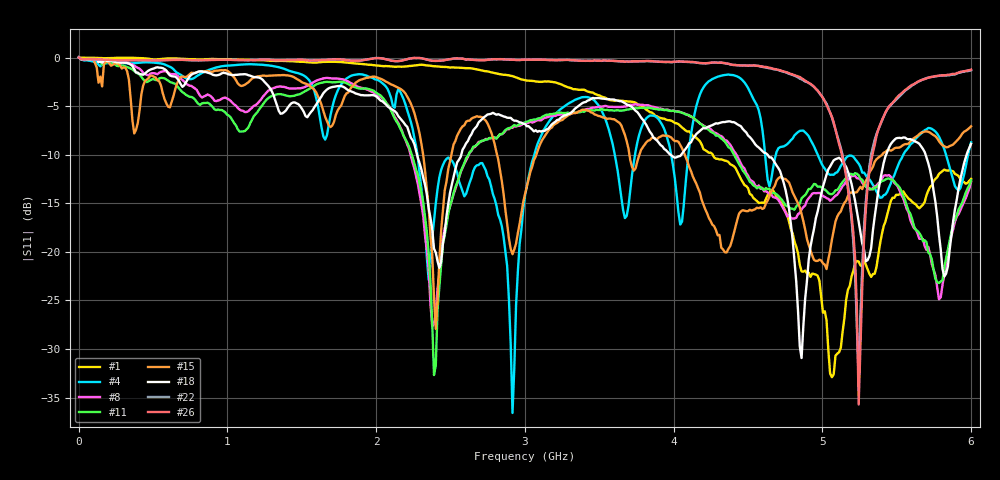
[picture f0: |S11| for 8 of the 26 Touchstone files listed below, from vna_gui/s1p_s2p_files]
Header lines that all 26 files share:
# Hz S RI R 50
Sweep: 1 MHz to 6 GHz
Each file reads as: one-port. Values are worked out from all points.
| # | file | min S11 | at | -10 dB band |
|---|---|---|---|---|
| 1 | 5_8GHzOrig.s1p | -32.9 dB | 5.064 GHz | over 1.737 GHz wide |
| 2 | AmazonOpenAnt.s1p | -36.2 dB | 2.929 GHz | 792.3 MHz wide |
| 3 | AmazonOpenAntCan3In.s1p | -32.3 dB | 2.941 GHz | 404.1 MHz wide |
| 4 | AmazonViceFronAnt.s1p | -36.6 dB | 2.917 GHz | 785.6 MHz wide |
| 5 | AmazonViceSideAnt.s1p | -48.9 dB | 2.929 GHz | 802.3 MHz wide |
| 6 | AmazonWallAnt.s1p | -32.7 dB | 2.341 GHz | 818.1 MHz wide |
| 7 | AsusAntHand.s1p | -37.8 dB | 2.353 GHz | over 1.536 GHz wide |
| 8 | AsusOpenAnt.s1p | -27.7 dB | 2.377 GHz | over 1.578 GHz wide |
| 9 | AsusOpenAntCan3In.s1p | -26.6 dB | 5.784 GHz | over 1.584 GHz wide |
| 10 | AsusViceFronAnt.s1p | -41.6 dB | 2.401 GHz | over 1.573 GHz wide |
| 11 | AsusViceSideAnt.s1p | -32.7 dB | 2.389 GHz | over 1.594 GHz wide |
| 12 | AsusWallAnt.s1p | -35.8 dB | 2.365 GHz | over 1.596 GHz wide |
| 13 | LuxulAntOpen.s1p | -27.0 dB | 2.437 GHz | 1.396 GHz wide |
| 14 | LuxulAntOpenCan3In.s1p | -21.4 dB | 2.437 GHz | 1.518 GHz wide |
| 15 | LuxulWallAnt1p.s1p | -27.9 dB | 2.401 GHz | 1.327 GHz wide |
| 16 | NetgearOpenAnt2.s1p | -38.5 dB | 4.848 GHz | 712.6 MHz wide |
| 17 | NetgearOpenAnt.s1p | -27.8 dB | 4.848 GHz | 783.9 MHz wide |
| 18 | NetgearOpenAntCan3In.s1p | -30.9 dB | 4.86 GHz | 796.1 MHz wide |
| 19 | NetgearViceFrontAnt.s1p | -28.9 dB | 2.401 GHz | 782.5 MHz wide |
| 20 | NetgearViceSideAnt.s1p | -31.9 dB | 2.389 GHz | 810.5 MHz wide |
| 21 | NetgearWallAnt.s1p | -31.2 dB | 4.848 GHz | 791.1 MHz wide |
| 22 | PatchOpenAnt.s1p | -33.2 dB | 5.244 GHz | 192.8 MHz wide |
| 23 | PatchOpenAntCan3InFron.s1p | -28.9 dB | 5.256 GHz | 191 MHz wide |
| 24 | PatchOpenAntCan3InSide.s1p | -32.0 dB | 5.244 GHz | 192.3 MHz wide |
| 25 | PatchWallFronAnt.s1p | -36.4 dB | 5.244 GHz | 212.9 MHz wide |
| 26 | PatchWallSideAnt.s1p | -35.7 dB | 5.244 GHz | 205.7 MHz wide |
